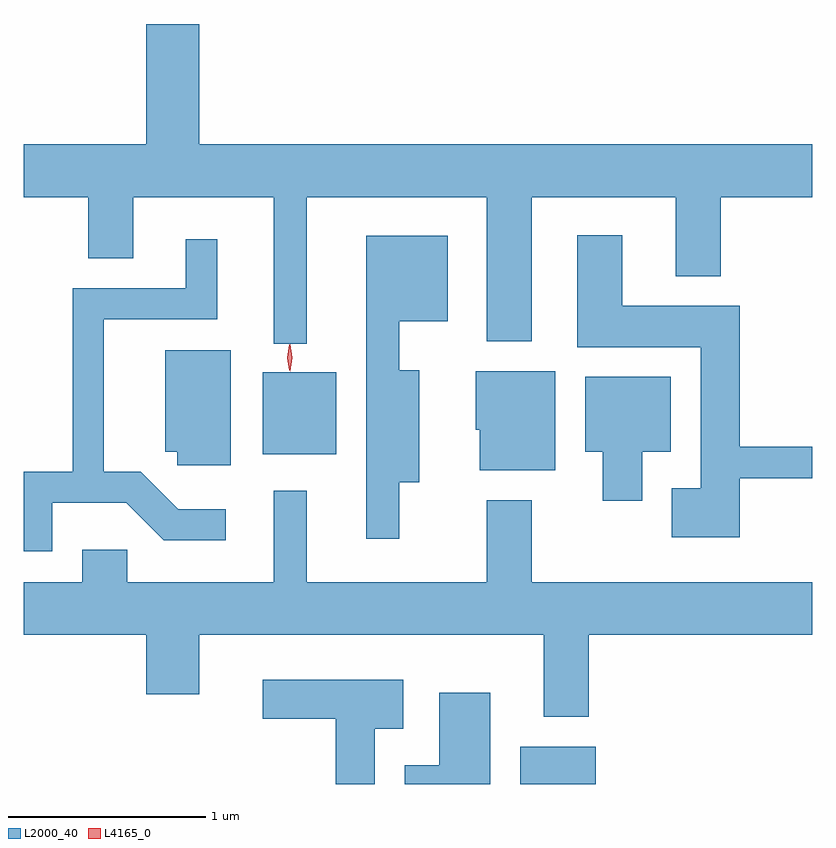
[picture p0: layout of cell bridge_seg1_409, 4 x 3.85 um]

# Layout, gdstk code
import gdstk
lib = gdstk.Library(unit=1e-6, precision=1e-09)
def R(c, l, rs):  # rectangles x0, y0, x1, y1
    for r in rs: c.add(gdstk.rectangle(r[:2], r[2:], *l))
def P(c, l, *ps):  # polygons
    for p in ps: c.add(gdstk.Polygon(p, *l))
L2000_40 = (2000, 40)
L4165_0 = (4165, 0)

bridge_seg1_409 = lib.new_cell('bridge_seg1_409')
R(bridge_seg1_409, L2000_40, [(196.991,916.58,197.374,916.769), (195.686,918.251,196.059,918.669)])
P(bridge_seg1_409, L2000_40, [(195.909,919.556),(196.821,919.556),(196.821,918.826),(197.049,918.826),(197.049,919.556),(197.781,919.556),(197.781,919.156),(198.009,919.156),(198.009,919.556),(198.473,919.556),(198.473,919.824),(195.364,919.824),(195.364,920.434),(195.096,920.434),(195.096,919.824),(194.473,919.824),(194.473,919.556),(194.801,919.556),(194.801,919.246),(195.029,919.246),(195.029,919.556),(195.741,919.556),(195.741,918.813),(195.909,918.813)],
  [(198.104,918.131),(198.473,918.131),(198.473,918.289),(198.104,918.289),(198.104,919.004),(197.509,919.004),(197.509,919.364),(197.281,919.364),(197.281,918.796),(197.906,918.796),(197.906,918.079),(197.761,918.079),(197.761,917.831),(198.104,917.831)],
  [(196.379,918.111),(196.479,918.111),(196.479,918.679),(196.379,918.679),(196.379,918.926),(196.624,918.926),(196.624,919.359),(196.211,919.359),(196.211,917.823),(196.379,917.823)],
  [(194.619,918.006),(194.994,918.006),(195.184,917.816),(195.498,917.816),(195.498,917.974),(195.257,917.974),(195.067,918.164),(194.879,918.164),(194.879,918.936),(195.454,918.936),(195.454,919.343),(195.296,919.343),(195.296,919.094),(194.721,919.094),(194.721,918.164),(194.473,918.164),(194.473,917.761),(194.619,917.761)],
  [(195.524,918.779),(195.191,918.779),(195.191,918.266),(195.251,918.266),(195.251,918.196),(195.524,918.196)],
  [(197.169,918.674),(196.766,918.674),(196.766,918.376),(196.786,918.376),(196.786,918.171),(197.169,918.171)],
  [(197.609,918.266),(197.754,918.266),(197.754,918.644),(197.321,918.644),(197.321,918.266),(197.411,918.266),(197.411,918.016),(197.609,918.016)],
  [(197.339,917.336),(198.473,917.336),(198.473,917.604),(197.049,917.604),(197.049,918.019),(196.821,918.019),(196.821,917.604),(195.909,917.604),(195.909,918.068),(195.741,918.068),(195.741,917.604),(194.999,917.604),(194.999,917.769),(194.771,917.769),(194.771,917.604),(194.473,917.604),(194.473,917.336),(195.096,917.336),(195.096,917.036),(195.364,917.036),(195.364,917.336),(197.111,917.336),(197.111,916.921),(197.339,916.921)],
  [(196.254,916.861),(196.399,916.861),(196.399,917.109),(195.686,917.109),(195.686,916.911),(196.056,916.911),(196.056,916.58),(196.254,916.58)],
  [(196.839,917.044),(196.581,917.044),(196.581,916.674),(196.406,916.674),(196.406,916.58),(196.839,916.58)])
P(bridge_seg1_409, L4165_0, [(195.821,918.678),(195.821,918.678),(195.811,918.742),(195.821,918.807),(195.821,918.807),(195.822,918.807),(195.831,918.742),(195.822,918.678)],
  [(195.825,918.674),(195.825,918.674),(195.815,918.742),(195.824,918.81),(195.825,918.81),(195.825,918.81),(195.835,918.742),(195.826,918.674)])

lib.write_gds('bridge_seg1_409.gds')
